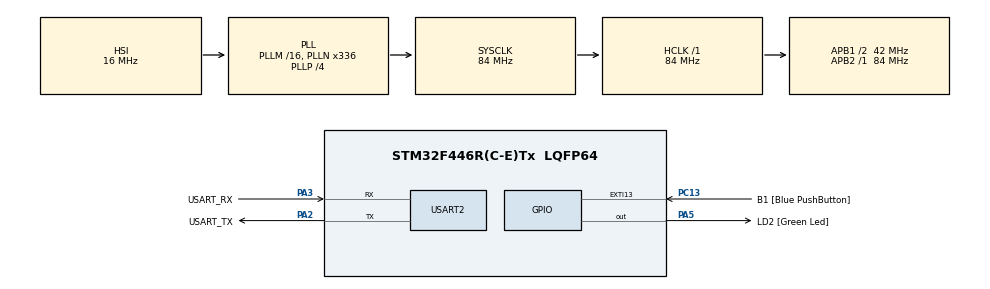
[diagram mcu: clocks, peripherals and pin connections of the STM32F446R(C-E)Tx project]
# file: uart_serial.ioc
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Mcu.Family=STM32F4
Mcu.Name=STM32F446R(C-E)Tx
Mcu.Package=LQFP64
NVIC.PriorityGroup=NVIC_PRIORITYGROUP_0
NVIC.USART2_IRQn=true\:0\:0\:false\:false\:true\:true\:true\:true
PA13.GPIO_Label=TMS
PA13.Mode=Serial_Wire
PA13.Signal=SYS_JTMS-SWDIO
PA14.GPIO_Label=TCK
PA14.Mode=Serial_Wire
PA14.Signal=SYS_JTCK-SWCLK
PA2.GPIO_Label=USART_TX
PA2.Mode=Asynchronous
PA2.Signal=USART2_TX
PA3.GPIO_Label=USART_RX
PA3.Mode=Asynchronous
PA3.Signal=USART2_RX
PA5.GPIO_Label=LD2 [Green Led]
PA5.Signal=GPIO_Output
PB3.GPIO_Label=SWO
PB3.Signal=SYS_JTDO-SWO
PC13.GPIO_Label=B1 [Blue PushButton]
PC13.GPIO_ModeDefaultEXTI=GPIO_MODE_IT_FALLING
PC13.Signal=GPXTI13
PC14-OSC32_IN.Mode=LSE-External-Oscillator
PC14-OSC32_IN.Signal=RCC_OSC32_IN
PC15-OSC32_OUT.Mode=LSE-External-Oscillator
PC15-OSC32_OUT.Signal=RCC_OSC32_OUT
PH0-OSC_IN.Mode=HSE-External-Oscillator
PH0-OSC_IN.Signal=RCC_OSC_IN
PH1-OSC_OUT.Mode=HSE-External-Oscillator
PH1-OSC_OUT.Signal=RCC_OSC_OUT
ProjectManager.HeapSize=0x200
ProjectManager.StackSize=0x400
ProjectManager.TargetToolchain=STM32CubeIDE
RCC.48MHZClocksFreq_Value=84000000
RCC.AHBFreq_Value=84000000
RCC.APB1CLKDivider=RCC_HCLK_DIV2
RCC.APB1Freq_Value=42000000
RCC.APB1TimFreq_Value=84000000
RCC.APB2Freq_Value=84000000
RCC.APB2TimFreq_Value=84000000
RCC.CortexFreq_Value=84000000
RCC.FLatency-AdvancedSettings=FLASH_LATENCY_2
RCC.HCLKFreq_Value=84000000
RCC.HSE_VALUE=8000000
RCC.HSI_VALUE=16000000
RCC.PLLN=336
RCC.PLLP=RCC_PLLP_DIV4
RCC.SYSCLKFreq_VALUE=84000000
RCC.SYSCLKSource=RCC_SYSCLKSOURCE_PLLCLK
RCC.USBFreq_Value=168000000
RCC.VCOOutputFreq_Value=336000000
USART2.VirtualMode=VM_ASYNC
board=NUCLEO-F446RE

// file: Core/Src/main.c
/* USER CODE BEGIN Header */
/**
  ******************************************************************************
  * @file           : main.c
  * @brief          : Main program body
  ******************************************************************************
  * @attention
  *
  * Copyright (c) 2025 STMicroelectronics.
  * All rights reserved.
  *
  * This software is licensed under terms that can be found in the LICENSE file
  * in the root directory of this software component.
  * If no LICENSE file comes with this software, it is provided AS-IS.
  *
  ******************************************************************************
  */
/* USER CODE END Header */
#include "main.h"
#include "string.h"
#include "stm32f4xx_hal.h"

/* USER CODE BEGIN PD */
#define TRUE  1
#define FALSE 0
#define RX_BUFFER_SIZE 10
/* USER CODE END PD */

UART_HandleTypeDef huart2;

/* USER CODE BEGIN PV */
//char *txbuff = "welcome to acrane";
//uint8_t data_buffer[100];
//uint8_t recvd_data;
//uint32_t count = 0;
//uint8_t reception_complete = FALSE;
uint8_t tx_buffer[27] = "welcome to acrane";
uint8_t rx_index;
uint8_t rx_data[2];
uint8_t rxBuffer[RX_BUFFER_SIZE];
uint8_t transfer_cplt;

/* USER CODE END PV */

void SystemClock_Config(void);
static void MX_GPIO_Init(void);
static void MX_USART2_UART_Init(void);

/* USER CODE BEGIN 0 */
uint8_t convert_to_capital(uint8_t data);
/* USER CODE END 0 */

int main(void)
{

  /* MCU Configuration--------------------------------------------------------*/

  /* Reset of all peripherals, Initializes the Flash interface and the Systick. */
  HAL_Init();

  /* Configure the system clock */
  SystemClock_Config();

  /* Initialize all configured peripherals */
  MX_GPIO_Init();
  MX_USART2_UART_Init();
  /* USER CODE BEGIN 2 */

//  while (reception_complete != TRUE ){
//	  HAL_UART_Receive_IT(&huart2, &recvd_data, 1);
//  }

  HAL_UART_Receive_IT(&huart2, rxBuffer, RX_BUFFER_SIZE);
  /* USER CODE END 2 */

  /* Infinite loop */
  while (1)
  {

  }
}

void SystemClock_Config(void)
{
  RCC_OscInitTypeDef RCC_OscInitStruct = {0};
  RCC_ClkInitTypeDef RCC_ClkInitStruct = {0};

  /** Configure the main internal regulator output voltage
  */
  __HAL_RCC_PWR_CLK_ENABLE();
  __HAL_PWR_VOLTAGESCALING_CONFIG(PWR_REGULATOR_VOLTAGE_SCALE3);

  /** Initializes the RCC Oscillators according to the specified parameters
  * in the RCC_OscInitTypeDef structure.
  */
  RCC_OscInitStruct.OscillatorType = RCC_OSCILLATORTYPE_HSI;
  RCC_OscInitStruct.HSIState = RCC_HSI_ON;
  RCC_OscInitStruct.HSICalibrationValue = RCC_HSICALIBRATION_DEFAULT;
  RCC_OscInitStruct.PLL.PLLState = RCC_PLL_ON;
  RCC_OscInitStruct.PLL.PLLSource = RCC_PLLSOURCE_HSI;
  RCC_OscInitStruct.PLL.PLLM = 16;
  RCC_OscInitStruct.PLL.PLLN = 336;
  RCC_OscInitStruct.PLL.PLLP = RCC_PLLP_DIV4;
  RCC_OscInitStruct.PLL.PLLQ = 2;
  RCC_OscInitStruct.PLL.PLLR = 2;
  if (HAL_RCC_OscConfig(&RCC_OscInitStruct) != HAL_OK)
  {
    Error_Handler();
  }

  /** Initializes the CPU, AHB and APB buses clocks
  */
  RCC_ClkInitStruct.ClockType = RCC_CLOCKTYPE_HCLK|RCC_CLOCKTYPE_SYSCLK
                              |RCC_CLOCKTYPE_PCLK1|RCC_CLOCKTYPE_PCLK2;
  RCC_ClkInitStruct.SYSCLKSource = RCC_SYSCLKSOURCE_PLLCLK;
  RCC_ClkInitStruct.AHBCLKDivider = RCC_SYSCLK_DIV1;
  RCC_ClkInitStruct.APB1CLKDivider = RCC_HCLK_DIV2;
  RCC_ClkInitStruct.APB2CLKDivider = RCC_HCLK_DIV1;

  if (HAL_RCC_ClockConfig(&RCC_ClkInitStruct, FLASH_LATENCY_2) != HAL_OK)
  {
    Error_Handler();
  }
}

static void MX_USART2_UART_Init(void)
{

  huart2.Instance = USART2;
  huart2.Init.BaudRate = 115200;
  huart2.Init.WordLength = UART_WORDLENGTH_8B;
  huart2.Init.StopBits = UART_STOPBITS_1;
  huart2.Init.Parity = UART_PARITY_NONE;
  huart2.Init.Mode = UART_MODE_TX_RX;
  huart2.Init.HwFlowCtl = UART_HWCONTROL_NONE;
  huart2.Init.OverSampling = UART_OVERSAMPLING_16;
  if (HAL_UART_Init(&huart2) != HAL_OK)
  {
    Error_Handler();
  }

}

static void MX_GPIO_Init(void)
{
  GPIO_InitTypeDef GPIO_InitStruct = {0};

  /* GPIO Ports Clock Enable */
  __HAL_RCC_GPIOC_CLK_ENABLE();
  __HAL_RCC_GPIOH_CLK_ENABLE();
  __HAL_RCC_GPIOA_CLK_ENABLE();
  __HAL_RCC_GPIOB_CLK_ENABLE();

  /*Configure GPIO pin Output Level */
  HAL_GPIO_WritePin(LD2_GPIO_Port, LD2_Pin, GPIO_PIN_RESET);

  /*Configure GPIO pin : B1_Pin */
  GPIO_InitStruct.Pin = B1_Pin;
  GPIO_InitStruct.Mode = GPIO_MODE_IT_FALLING;
  GPIO_InitStruct.Pull = GPIO_NOPULL;
  HAL_GPIO_Init(B1_GPIO_Port, &GPIO_InitStruct);

  /*Configure GPIO pin : LD2_Pin */
  GPIO_InitStruct.Pin = LD2_Pin;
  GPIO_InitStruct.Mode = GPIO_MODE_OUTPUT_PP;
  GPIO_InitStruct.Pull = GPIO_NOPULL;
  GPIO_InitStruct.Speed = GPIO_SPEED_FREQ_LOW;
  HAL_GPIO_Init(LD2_GPIO_Port, &GPIO_InitStruct);

}

/* USER CODE BEGIN 4 */
void HAL_UART_RxCpltCallback(UART_HandleTypeDef *huart)
{
  /* Prevent unused argument(s) compilation warning */
  UNUSED(huart);
  /* NOTE: This function should not be modified, when the callback is needed,
           the HAL_UART_RxCpltCallback could be implemented in the user file
   */
//  if (recvd_data == '\r'){
//	  reception_complete = TRUE;
//	  data_buffer[count++] = '\r';
//	  HAL_UART_Transmit(huart, data_buffer, count,HAL_MAX_DELAY);
//  }
//  else{
//	  data_buffer[count++] = recvd_data;
//  }
//}
  if (huart->Instance == USART2)  // Nucleo-F446RE uses USART2 over ST-Link USB
     {
         if (strncmp((char *)rxBuffer, "LED ON", 6) == 0)
         {
             HAL_GPIO_WritePin(GPIOA, GPIO_PIN_5, GPIO_PIN_SET);   // Turn ON LED
         }
         else if (strncmp((char *)rxBuffer, "LED OFF", 7) == 0)
         {
             HAL_GPIO_WritePin(GPIOA, GPIO_PIN_5, GPIO_PIN_RESET); // Turn OFF LED
         }

         memset(rxBuffer, 0, RX_BUFFER_SIZE); // Clear buffer

         // Re-enable UART interrupt for next reception
         HAL_UART_Receive_IT(&huart2, rxBuffer, RX_BUFFER_SIZE);
     }
}

uint8_t convert_to_capital(uint8_t data)
{
	if(data >= 'a' && data <= 'z')
	{
		data = data - ('a'-'A');
	}
	return data;
}
/* USER CODE END 4 */

void Error_Handler(void)
{
  __disable_irq();
  while (1)
  {
  }
}
